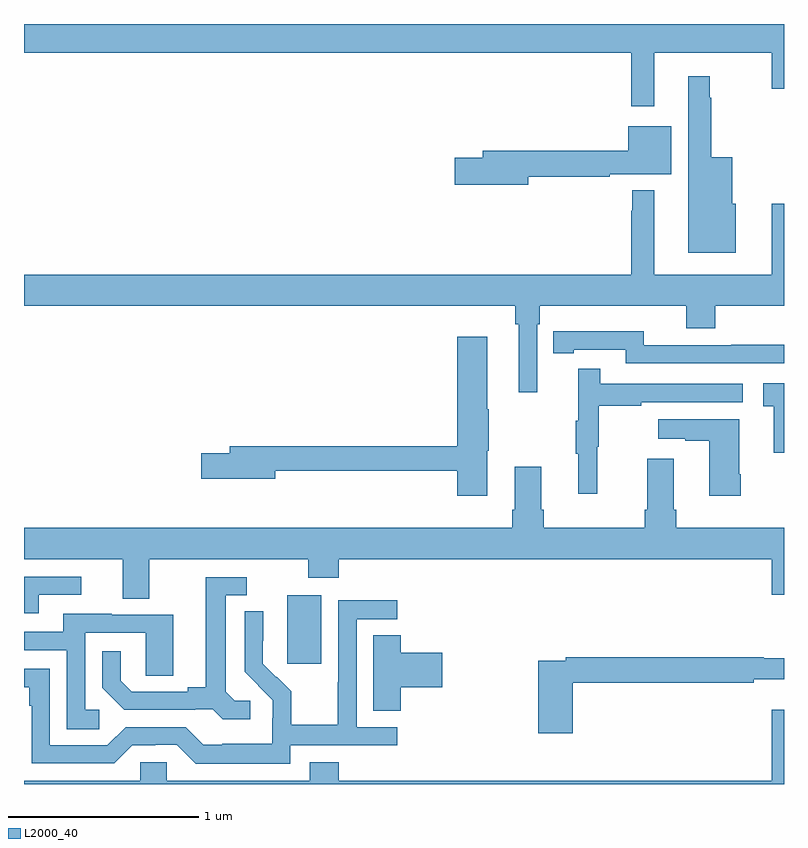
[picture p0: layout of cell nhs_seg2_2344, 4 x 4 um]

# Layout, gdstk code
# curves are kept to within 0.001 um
import gdstk
lib = gdstk.Library(unit=1e-6, precision=1e-09)
def R(c, l, rs):  # rectangles x0, y0, x1, y1
    for r in rs: c.add(gdstk.rectangle(r[:2], r[2:], *l))
def P(c, l, *ps):  # polygons
    for p in ps: c.add(gdstk.Polygon(p, *l))
L2000_40 = (2000, 40)

nhs_seg2_2344 = lib.new_cell('nhs_seg2_2344')
R(nhs_seg2_2344, L2000_40, [(234.386,632.433,234.565,632.794)])
P(nhs_seg2_2344, L2000_40, [(236.317,635.648),(236.936,635.648),(236.936,635.46),(237,635.46),(237,635.8),(233,635.8),(233,635.648),(236.196,635.648),(236.196,635.367),(236.317,635.367)],
  [(236.746,634.854),(236.728,634.854),(236.728,635.098),(236.617,635.098),(236.617,635.411),(236.609,635.411),(236.609,635.524),(236.495,635.524),(236.495,634.595),(236.746,634.595)],
  [(235.654,634.996),(236.084,634.996),(236.084,635.009),(236.407,635.009),(236.407,635.263),(236.18,635.263),(236.18,635.132),(235.415,635.132),(235.415,635.096),(235.266,635.096),(235.266,634.954),(235.654,634.954)],
  [(235.701,634.22),(235.715,634.22),(235.715,634.316),(236.486,634.316),(236.486,634.199),(236.639,634.199),(236.639,634.316),(237,634.316),(237,634.855),(236.936,634.855),(236.936,634.48),(236.317,634.48),(236.317,634.924),(236.202,634.924),(236.202,634.817),(236.196,634.817),(236.196,634.48),(233,634.48),(233,634.316),(235.585,634.316),(235.585,634.22),(235.604,634.22),(235.604,633.861),(235.701,633.861)],
  [(237,634.112),(236.722,634.112),(236.722,634.11),(236.262,634.11),(236.262,634.183),(235.894,634.183),(235.894,634.182),(235.786,634.182),(235.786,634.066),(235.894,634.066),(235.894,634.086),(236.166,634.086),(236.166,634.014),(237,634.014)],
  [(235.438,633.555),(235.446,633.555),(235.446,633.773),(235.438,633.773),(235.438,634.153),(235.28,634.153),(235.28,633.578),(234.083,633.578),(234.083,633.542),(233.934,633.542),(233.934,633.407),(234.322,633.407),(234.322,633.45),(235.28,633.45),(235.28,633.318),(235.438,633.318)],
  [(236.018,633.576),(236.026,633.576),(236.026,633.79),(236.249,633.79),(236.249,633.81),(236.782,633.81),(236.782,633.906),(236.033,633.906),(236.033,633.985),(235.916,633.985),(235.916,633.713),(235.905,633.713),(235.905,633.539),(235.916,633.539),(235.916,633.327),(236.018,633.327)],
  [(237,633.91),(236.892,633.91),(236.892,633.789),(236.945,633.789),(236.945,633.543),(237,633.543)],
  [(236.772,633.43),(236.764,633.43),(236.764,633.721),(236.337,633.721),(236.337,633.617),(236.48,633.617),(236.48,633.607),(236.606,633.607),(236.606,633.318),(236.772,633.318)],
  [(233,632.984),(233.519,632.984),(233.519,632.776),(233.659,632.776),(233.659,632.984),(234.496,632.984),(234.496,632.885),(234.656,632.885),(234.656,632.984),(236.936,632.984),(236.936,632.796),(237,632.796),(237,633.148),(236.432,633.148),(236.432,633.244),(236.419,633.244),(236.419,633.511),(236.279,633.511),(236.279,633.244),(236.267,633.244),(236.267,633.148),(235.736,633.148),(235.736,633.244),(235.723,633.244),(235.723,633.469),(235.583,633.469),(235.583,633.244),(235.571,633.244),(235.571,633.148),(233,633.148)],
  [(233.077,632.796),(233.302,632.796),(233.302,632.892),(233,632.892),(233,632.7),(233.077,632.7)],
  [(234.19,632.238),(234.108,632.238),(234.061,632.285),(234.061,632.793),(234.172,632.793),(234.172,632.889),(233.957,632.889),(233.957,632.309),(233.861,632.309),(233.861,632.286),(233.566,632.286),(233.509,632.343),(233.509,632.5),(233.412,632.5),(233.412,632.306),(233.528,632.19),(233.9,632.19),(233.9,632.193),(233.994,632.193),(234.046,632.141),(234.19,632.141)],
  [(234.402,632.004),(234.964,632.004),(234.964,632.1),(234.75,632.1),(234.75,632.667),(234.964,632.667),(234.964,632.766),(234.654,632.766),(234.654,632.336),(234.652,632.336),(234.652,632.113),(234.407,632.113),(234.407,632.287),(234.33,632.364),(234.327,632.361),(234.257,632.432),(234.258,632.708),(234.162,632.708),(234.162,632.39),(234.308,632.242),(234.308,632.145),(234.306,632.145),(234.306,632.011),(234.043,632.011),(234.043,632.007),(233.943,632.007),(233.85,632.1),(233.535,632.1),(233.439,632.004),(233.136,632.004),(233.136,632.406),(233,632.406),(233,632.31),(233.027,632.31),(233.027,632.213),(233.04,632.213),(233.04,631.908),(233.475,631.908),(233.571,632.004),(233.69,632.004),(233.69,632.007),(233.805,632.007),(233.905,631.907),(234.402,631.907)],
  [(233.395,632.19),(233.322,632.19),(233.322,632.595),(233.64,632.595),(233.64,632.371),(233.785,632.371),(233.785,632.691),(233.461,632.691),(233.461,632.695),(233.207,632.695),(233.207,632.601),(233,632.601),(233,632.505),(233.226,632.505),(233.226,632.089),(233.395,632.089)],
  [(234.983,632.309),(235.201,632.309),(235.201,632.492),(234.983,632.492),(234.983,632.582),(234.839,632.582),(234.839,632.185),(234.983,632.185)],
  [(235.889,632.332),(236.84,632.332),(236.84,632.351),(237,632.351),(237,632.461),(236.894,632.461),(236.894,632.468),(235.852,632.468),(235.852,632.448),(235.706,632.448),(235.706,632.067),(235.889,632.067)],
  [(237,632.191),(236.936,632.191),(236.936,631.816),(234.656,631.816),(234.656,631.915),(234.503,631.915),(234.503,631.816),(233.751,631.816),(233.751,631.914),(233.613,631.914),(233.613,631.816),(233,631.816),(233,631.8),(237,631.8)])

lib.write_gds('nhs_seg2_2344.gds')
